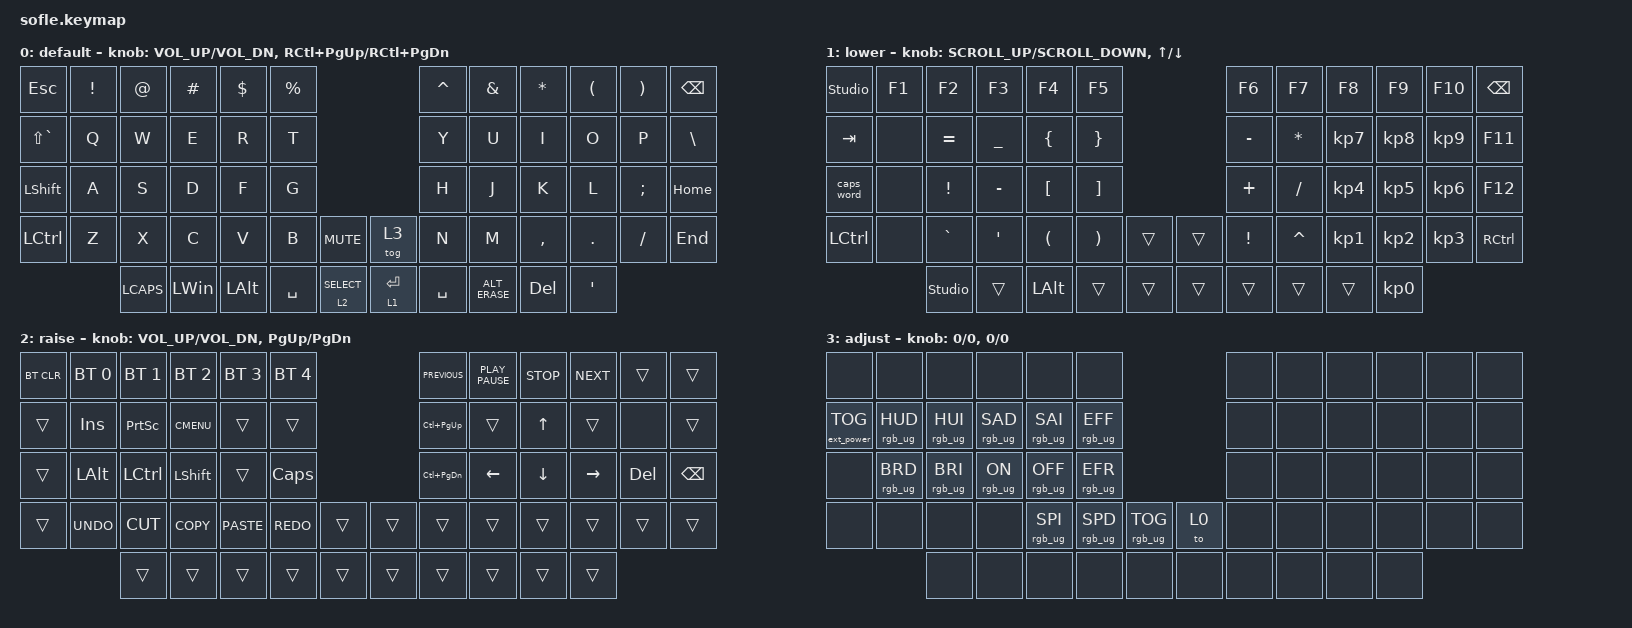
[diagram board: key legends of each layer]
/*
 * Copyright (c) 2020 The ZMK Contributors
 *
 * SPDX-License-Identifier: MIT
 */

#include <behaviors.dtsi>
#include <dt-bindings/zmk/bt.h>
#include <dt-bindings/zmk/ext_power.h>
#include <dt-bindings/zmk/keys.h>
#include <dt-bindings/zmk/rgb.h>

#define BASE 0
#define LOWER 1
#define RAISE 2
#define ADJUST 3

/ {
    // Activate ADJUST layer by pressing raise and lower

    conditional_layers {
        compatible = "zmk,conditional-layers";

        adjust_layer {
            if-layers = <LOWER RAISE>;
            then-layer = <ADJUST>;
        };
    };

    keymap {
        compatible = "zmk,keymap";

        default_layer {
            label = "default";

            // ------------------------------------------------------------------------------------------------------------
            // |   `   |  1  |  2  |  3   |  4   |  5   |                   |  6   |  7    |  8    |  9   |   0   |       |
            // |  ESC  |  Q  |  W  |  E   |  R   |  T   |                   |  Y   |  U    |  I    |  O   |   P   | BKSPC |
            // |  TAB  |  A  |  S  |  D   |  F   |  G   |                   |  H   |  J    |  K    |  L   |   ;   |   '   |
            // | SHIFT |  Z  |  X  |  C   |  V   |  B   |  MUTE  |  |       |  N   |  M    |  ,    |  .   |   /   | SHIFT |
            //               | GUI | ALT  | CTRL | LOWER|  ENTER |  | SPACE | RAISE| CTRL  | ALT   | GUI  |

            bindings = <
&kp ESC         &kp EXCL  &kp AT_SIGN  &kp HASH  &kp DOLLAR    &kp PERCENT                                 &kp CARET  &kp AMPERSAND  &kp ASTRK  &kp LEFT_PARENTHESIS  &kp RIGHT_PARENTHESIS  &kp BACKSPACE
&kp LS(GRAVE)   &kp Q     &kp W        &kp E     &kp R         &kp T                                       &kp Y      &kp U          &kp I      &kp O                 &kp P                  &kp BACKSLASH
&kp LEFT_SHIFT  &kp A     &kp S        &kp D     &kp F         &kp G                                       &kp H      &kp J          &kp K      &kp L                 &kp SEMI               &kp HOME
&kp LCTRL       &kp Z     &kp X        &kp C     &kp V         &kp B        &kp C_MUTE        &tog 3       &kp N      &kp M          &kp COMMA  &kp DOT               &kp FSLH               &kp END
                          &kp LCAPS    &kp LWIN  &kp LEFT_ALT  &kp SPACE    &lt 2 K_SELECT    &lt 1 ENTER  &kp SPACE  &kp ALT_ERASE  &kp DEL    &kp SQT
            >;

            sensor-bindings =
                <&inc_dec_kp C_VOL_UP C_VOL_DN>,
                <&inc_dec_kp RC(PG_UP) RC(PG_DN)>;
        };

        lower_layer {
            label = "lower";

            // TODO: Some binds are waiting for shifted keycode support.
            // ------------------------------------------------------------------------------------------------------------
            // |       |  F1 |  F2 |  F3  |  F4  |  F5  |                   |  F6  |  F7   |  F8   |  F9  |  F10  |  F11  |
            // |   `   |  1  |  2  |  3   |  4   |  5   |                   |  6   |  7    |  8    |  9   |   0   |  F12  |
            // |       |  !  |  @  |  #   |  $   |  %   |                   |  ^   |  &    |  *    |  (   |   )   |   |   |
            // |       |  =  |  -  |  +   |  {   |  }   |        |  |       |  [   |  ]    |  ;    |  :   |   \   |       |
            //               |     |      |      |      |        |  |       |      |       |       |      |

            bindings = <
&studio_unlock  &kp F1  &kp F2           &kp F3          &kp F4                &kp F5                                   &kp F6           &kp F7     &kp F8           &kp F9           &kp F10          &kp BACKSPACE
&kp TAB         &none   &kp EQUAL        &kp UNDER       &kp LEFT_BRACE        &kp RIGHT_BRACE                          &kp MINUS        &kp ASTRK  &kp KP_NUMBER_7  &kp KP_NUMBER_8  &kp KP_NUMBER_9  &kp F11
&caps_word      &none   &kp EXCLAMATION  &kp MINUS       &kp LBKT              &kp RBKT                                 &kp PLUS         &kp FSLH   &kp KP_NUMBER_4  &kp KP_NUMBER_5  &kp KP_NUMBER_6  &kp F12
&kp LCTRL       &none   &kp GRAVE        &kp APOSTROPHE  &kp LEFT_PARENTHESIS  &kp RIGHT_PARENTHESIS  &trans    &trans  &kp EXCLAMATION  &kp CARET  &kp KP_NUMBER_1  &kp KP_NUMBER_2  &kp KP_NUMBER_3  &kp RCTRL
                        &studio_unlock   &trans          &kp LEFT_ALT          &trans                 &trans    &trans  &trans           &trans     &trans           &kp KP_NUMBER_0
            >;

            sensor-bindings =
                <&inc_dec_kp K_SCROLL_UP K_SCROLL_DOWN>,
                <&inc_dec_kp UP DOWN_ARROW>;
        };

        raise_layer {
            label = "raise";

            // ------------------------------------------------------------------------------------------------------------
            // | BTCLR | BT1  | BT2  |  BT3  |  BT4  |  BT5 |                |      |      |       |      |       |       |
            // |       | INS  | PSCR | GUI   |       |      |                | PGUP |      |   ^   |      |       |       |
            // |       | ALT  | CTRL | SHIFT |       | CAPS |                | PGDN |   <- |   v   |  ->  |  DEL  | BKSPC |
            // |       | UNDO | CUT  | COPY  | PASTE |      |      |  |      |      |      |       |      |       |       |
            //                |      |       |       |      |      |  |      |      |      |       |      |

            bindings = <
&bt BT_CLR  &bt BT_SEL 0  &bt BT_SEL 1  &bt BT_SEL 2  &bt BT_SEL 3  &bt BT_SEL 4                    &kp K_PREVIOUS  &kp K_PLAY_PAUSE  &kp K_STOP  &kp K_NEXT  &trans   &trans
&trans      &kp INS       &kp PSCRN     &kp K_CMENU   &trans        &trans                          &kp LC(PG_UP)   &trans            &kp UP      &trans      &none    &trans
&trans      &kp LALT      &kp LCTRL     &kp LSHFT     &trans        &kp CLCK                        &kp LC(PG_DN)   &kp LEFT          &kp DOWN    &kp RIGHT   &kp DEL  &kp BSPC
&trans      &kp K_UNDO    &kp K_CUT     &kp K_COPY    &kp K_PASTE   &kp K_REDO    &trans    &trans  &trans          &trans            &trans      &trans      &trans   &trans
                          &trans        &trans        &trans        &trans        &trans    &trans  &trans          &trans            &trans      &trans
            >;

            sensor-bindings = <&inc_dec_kp C_VOL_UP C_VOL_DN &inc_dec_kp PG_UP PG_DN>;
        };

        adjust_layer {
            // ----------------------------------------------------------------------------------------------------------------------------
            // | BTCLR  |  BT1    |  BT2    |   BT3   |   BT4   |   BT5   |                  |      |      |       |      |       |       |
            // | EXTPWR | RGB_HUD | RGB_HUI | RGB_SAD | RGB_SAI | RGB_EFF |                  |      |      |       |      |       |       |
            // |        | RGB_BRD | RGB_BRI |         |         |         |                  |      |      |       |      |       |       |
            // |        |         |         |         |         |         | RGB_TOG | |      |      |      |       |      |       |       |
            //                    |         |         |         |         |         | |      |      |      |       |      |

            label = "adjust";
            bindings = <
&none              &none            &none            &none            &none            &none                                      &none  &none  &none  &none  &none  &none
&ext_power EP_TOG  &rgb_ug RGB_HUD  &rgb_ug RGB_HUI  &rgb_ug RGB_SAD  &rgb_ug RGB_SAI  &rgb_ug RGB_EFF                            &none  &none  &none  &none  &none  &none
&none              &rgb_ug RGB_BRD  &rgb_ug RGB_BRI  &rgb_ug RGB_ON   &rgb_ug RGB_OFF  &rgb_ug RGB_EFR                            &none  &none  &none  &none  &none  &none
&none              &none            &none            &none            &rgb_ug RGB_SPI  &rgb_ug RGB_SPD  &rgb_ug RGB_TOG    &to 0  &none  &none  &none  &none  &none  &none
                                    &none            &none            &none            &none            &none              &none  &none  &none  &none  &none
            >;

            sensor-bindings = <&inc_dec_kp 0 0>, <&inc_dec_kp 0 0>;
        };
    };
};
